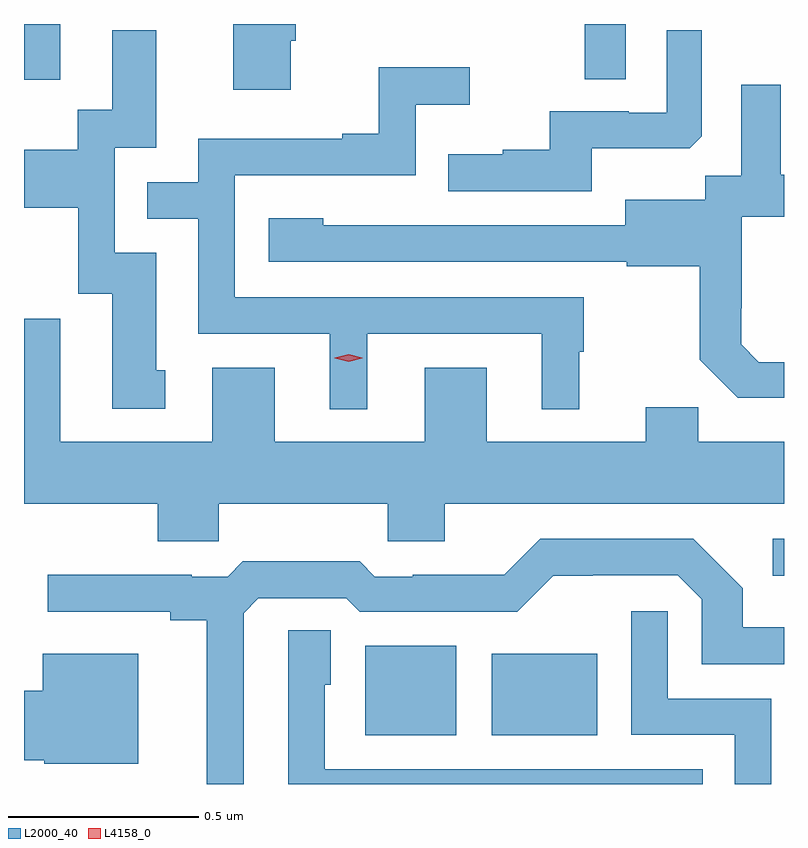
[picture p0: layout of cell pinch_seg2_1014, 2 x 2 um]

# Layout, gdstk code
import gdstk
lib = gdstk.Library(unit=1e-6, precision=1e-09)
def R(c, l, rs):  # rectangles x0, y0, x1, y1
    for r in rs: c.add(gdstk.rectangle(r[:2], r[2:], *l))
def P(c, l, *ps):  # polygons
    for p in ps: c.add(gdstk.Polygon(p, *l))
L2000_40 = (2000, 40)
L4158_0 = (4158, 0)

pinch_seg2_1014 = lib.new_cell('pinch_seg2_1014')
R(pinch_seg2_1014, L2000_40, [(136.901,649.691,137.14,649.927), (137.234,649.691,137.512,649.906), (137.973,650.111,138.003,650.208), (136.003,651.416,136.099,651.563), (137.478,651.418,137.586,651.563)])
P(pinch_seg2_1014, L2000_40, [(136.705,651.519),(136.718,651.519),(136.718,651.563),(136.553,651.563),(136.553,651.39),(136.705,651.39)],
  [(136.375,650.652),(136.351,650.652),(136.351,650.961),(136.242,650.961),(136.242,651.237),(136.351,651.237),(136.351,651.547),(136.235,651.547),(136.235,651.338),(136.145,651.338),(136.145,651.232),(136.003,651.232),(136.003,651.08),(136.146,651.08),(136.146,650.853),(136.235,650.853),(136.235,650.55),(136.375,650.55)],
  [(137.497,651.236),(137.755,651.236),(137.787,651.267),(137.787,651.547),(137.694,651.547),(137.694,651.33),(137.594,651.33),(137.594,651.333),(137.387,651.333),(137.387,651.232),(137.263,651.232),(137.263,651.22),(137.119,651.22),(137.119,651.123),(137.497,651.123)],
  [(136.906,650.748),(137.366,650.748),(137.366,650.549),(137.464,650.549),(137.464,650.7),(137.476,650.7),(137.476,650.844),(136.557,650.844),(136.557,651.165),(137.034,651.165),(137.034,651.35),(137.176,651.35),(137.176,651.449),(136.936,651.449),(136.936,651.274),(136.841,651.274),(136.841,651.261),(136.461,651.261),(136.461,651.147),(136.327,651.147),(136.327,651.051),(136.461,651.051),(136.461,650.748),(136.808,650.748),(136.808,650.549),(136.906,650.549)],
  [(138.003,650.673),(137.937,650.673),(137.89,650.72),(137.89,650.815),(137.892,650.815),(137.892,651.056),(138.003,651.056),(138.003,651.166),(137.995,651.166),(137.995,651.403),(137.891,651.403),(137.891,651.164),(137.796,651.164),(137.796,651.1),(137.585,651.1),(137.585,651.033),(137.027,651.033),(137.027,651.034),(136.791,651.034),(136.791,651.052),(136.647,651.052),(136.647,650.937),(137.589,650.937),(137.589,650.925),(137.781,650.925),(137.781,650.679),(137.881,650.579),(138.003,650.579)],
  [(136.515,650.3),(136.96,650.3),(136.96,650.202),(137.11,650.202),(137.11,650.3),(138.003,650.3),(138.003,650.464),(137.777,650.464),(137.777,650.555),(137.639,650.555),(137.639,650.464),(137.221,650.464),(137.221,650.659),(137.057,650.659),(137.057,650.464),(136.663,650.464),(136.663,650.659),(136.499,650.659),(136.499,650.464),(136.099,650.464),(136.099,650.788),(136.003,650.788),(136.003,650.3),(136.355,650.3),(136.355,650.202),(136.515,650.202)],
  [(136.581,650.013),(136.62,650.052),(136.851,650.052),(136.887,650.016),(137.301,650.016),(137.396,650.111),(137.5,650.111),(137.5,650.112),(137.724,650.112),(137.787,650.049),(137.787,649.878),(138.003,649.878),(138.003,649.975),(137.895,649.975),(137.895,650.078),(137.764,650.208),(137.361,650.208),(137.267,650.114),(137.026,650.114),(137.026,650.109),(136.926,650.109),(136.887,650.149),(136.579,650.149),(136.539,650.109),(136.445,650.109),(136.445,650.114),(136.065,650.114),(136.065,650.016),(136.388,650.016),(136.388,649.994),(136.484,649.994),(136.484,649.563),(136.581,649.563)],
  [(137.97,649.788),(137.697,649.788),(137.697,650.017),(137.601,650.017),(137.601,649.692),(137.874,649.692),(137.874,649.563),(137.97,649.563)],
  [(137.789,649.602),(136.794,649.602),(136.794,649.824),(136.81,649.824),(136.81,649.967),(136.698,649.967),(136.698,649.563),(137.789,649.563)],
  [(136.303,649.906),(136.052,649.906),(136.052,649.808),(136.003,649.808),(136.003,649.625),(136.056,649.625),(136.056,649.616),(136.303,649.616)])
P(pinch_seg2_1014, L4158_0, [(136.857,650.674),(136.821,650.684),(136.821,650.684),(136.821,650.685),(136.857,650.694),(136.893,650.685),(136.893,650.684),(136.893,650.684)])

lib.write_gds('pinch_seg2_1014.gds')
